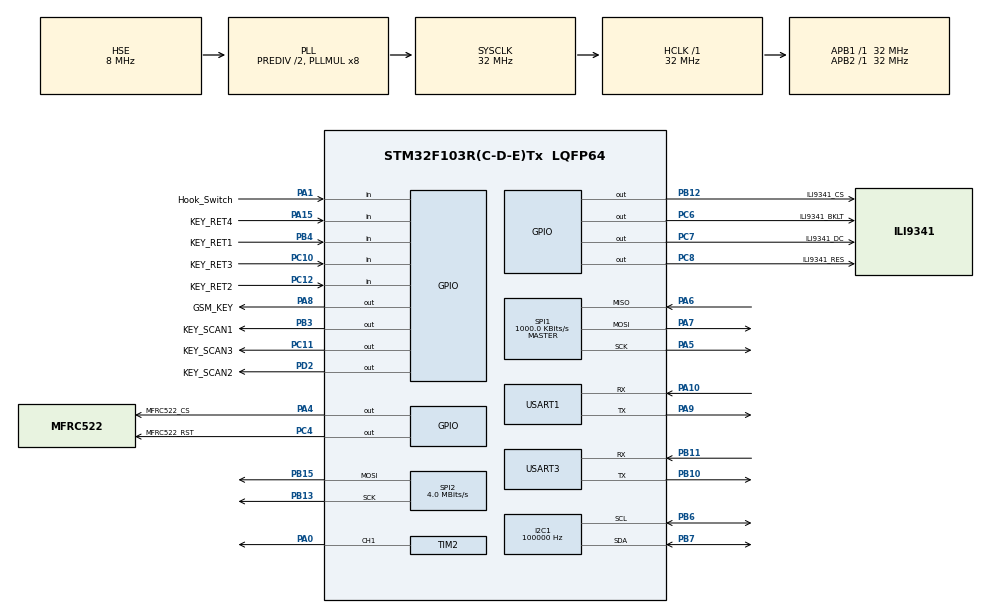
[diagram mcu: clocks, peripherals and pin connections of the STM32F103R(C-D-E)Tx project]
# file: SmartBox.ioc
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FREERTOS.HEAP_NUMBER=4
FREERTOS.INCLUDE_uxTaskPriorityGet=0
FREERTOS.INCLUDE_vTaskDelayUntil=1
FREERTOS.INCLUDE_vTaskDelete=0
FREERTOS.INCLUDE_vTaskPrioritySet=0
FREERTOS.INCLUDE_vTaskSuspend=0
FREERTOS.MEMORY_ALLOCATION=2
FREERTOS.Tasks01=defaultTask,0,256,StartDefaultTask,Default,NULL,Dynamic,NULL,NULL
FREERTOS.configMINIMAL_STACK_SIZE=128
FREERTOS.configTOTAL_HEAP_SIZE=30720
FREERTOS.configUSE_NEWLIB_REENTRANT=1
I2C1.ClockSpeed=100000
Mcu.Family=STM32F1
Mcu.Name=STM32F103R(C-D-E)Tx
Mcu.Package=LQFP64
NVIC.PriorityGroup=NVIC_PRIORITYGROUP_4
NVIC.TIM1_UP_IRQn=true\:15\:0\:false\:false\:true\:false\:false\:true\:true
NVIC.TimeBase=TIM1_UP_IRQn
NVIC.TimeBaseIP=TIM1
NVIC.USART3_IRQn=true\:5\:0\:false\:false\:true\:true\:true\:true\:true
PA0-WKUP.Signal=S_TIM2_CH1_ETR
PA1.GPIO_Label=Hook_Switch
PA1.GPIO_PuPd=GPIO_PULLUP
PA1.Signal=GPIO_Input
PA10.Mode=Asynchronous
PA10.Signal=USART1_RX
PA13.Mode=Serial_Wire
PA13.Signal=SYS_JTMS-SWDIO
PA14.Mode=Serial_Wire
PA14.Signal=SYS_JTCK-SWCLK
PA15.GPIO_Label=KEY_RET4
PA15.GPIO_PuPd=GPIO_NOPULL
PA15.Signal=GPIO_Input
PA4.GPIO_Label=MFRC522_CS
PA4.GPIO_ModeDefaultOutputPP=GPIO_MODE_OUTPUT_PP
PA4.GPIO_Speed=GPIO_SPEED_FREQ_MEDIUM
PA4.PinState=GPIO_PIN_SET
PA4.Signal=GPIO_Output
PA5.Mode=Full_Duplex_Master
PA5.Signal=SPI1_SCK
PA6.Mode=Full_Duplex_Master
PA6.Signal=SPI1_MISO
PA7.Mode=Full_Duplex_Master
PA7.Signal=SPI1_MOSI
PA8.GPIO_Label=GSM_KEY
PA8.GPIO_ModeDefaultOutputPP=GPIO_MODE_OUTPUT_PP
PA8.GPIO_PuPd=GPIO_NOPULL
PA8.PinState=GPIO_PIN_SET
PA8.Signal=GPIO_Output
PA9.Mode=Asynchronous
PA9.Signal=USART1_TX
PB10.Mode=Asynchronous
PB10.Signal=USART3_TX
PB11.GPIO_PuPd=GPIO_PULLUP
PB11.Mode=Asynchronous
PB11.Signal=USART3_RX
PB12.GPIO_Label=ILI9341_CS
PB12.GPIO_Speed=GPIO_SPEED_FREQ_HIGH
PB12.PinState=GPIO_PIN_SET
PB12.Signal=GPIO_Output
PB13.Mode=TX_Only_Simplex_Unidirect_Master
PB13.Signal=SPI2_SCK
PB15.Mode=TX_Only_Simplex_Unidirect_Master
PB15.Signal=SPI2_MOSI
PB3.GPIO_Label=KEY_SCAN1
PB3.GPIO_Speed=GPIO_SPEED_FREQ_MEDIUM
PB3.PinState=GPIO_PIN_SET
PB3.Signal=GPIO_Output
PB4.GPIO_Label=KEY_RET1
PB4.GPIO_Mode=GPIO_MODE_INPUT
PB4.GPIO_PuPd=GPIO_NOPULL
PB4.Signal=GPIO_Input
PB6.Mode=I2C
PB6.Signal=I2C1_SCL
PB7.Mode=I2C
PB7.Signal=I2C1_SDA
PC10.GPIO_Label=KEY_RET3
PC10.GPIO_PuPd=GPIO_NOPULL
PC10.Signal=GPIO_Input
PC11.GPIO_Label=KEY_SCAN3
PC11.GPIO_ModeDefaultOutputPP=GPIO_MODE_OUTPUT_PP
PC11.GPIO_Speed=GPIO_SPEED_FREQ_MEDIUM
PC11.PinState=GPIO_PIN_SET
PC11.Signal=GPIO_Output
PC12.GPIO_Label=KEY_RET2
PC12.GPIO_PuPd=GPIO_NOPULL
PC12.Signal=GPIO_Input
PC14-OSC32_IN.Mode=LSE-External-Oscillator
PC14-OSC32_IN.Signal=RCC_OSC32_IN
PC15-OSC32_OUT.Mode=LSE-External-Oscillator
PC15-OSC32_OUT.Signal=RCC_OSC32_OUT
PC4.GPIO_Label=MFRC522_RST
PC4.GPIO_ModeDefaultOutputPP=GPIO_MODE_OUTPUT_PP
PC4.GPIO_Speed=GPIO_SPEED_FREQ_HIGH
PC4.PinState=GPIO_PIN_SET
PC4.Signal=GPIO_Output
PC6.GPIO_Label=ILI9341_BKLT
PC6.GPIO_ModeDefaultOutputPP=GPIO_MODE_OUTPUT_PP
PC6.GPIO_PuPd=GPIO_NOPULL
PC6.GPIO_Speed=GPIO_SPEED_FREQ_MEDIUM
PC6.PinState=GPIO_PIN_RESET
PC6.Signal=GPIO_Output
PC7.GPIO_Label=ILI9341_DC
PC7.GPIO_ModeDefaultOutputPP=GPIO_MODE_OUTPUT_PP
PC7.GPIO_PuPd=GPIO_NOPULL
PC7.GPIO_Speed=GPIO_SPEED_FREQ_HIGH
PC7.PinState=GPIO_PIN_SET
PC7.Signal=GPIO_Output
PC8.GPIO_Label=ILI9341_RES
PC8.GPIO_ModeDefaultOutputPP=GPIO_MODE_OUTPUT_PP
PC8.GPIO_Speed=GPIO_SPEED_FREQ_MEDIUM
PC8.PinState=GPIO_PIN_SET
PC8.Signal=GPIO_Output
PD0-OSC_IN.Mode=HSE-External-Oscillator
PD0-OSC_IN.Signal=RCC_OSC_IN
PD1-OSC_OUT.Mode=HSE-External-Oscillator
PD1-OSC_OUT.Signal=RCC_OSC_OUT
PD2.GPIO_Label=KEY_SCAN2
PD2.GPIO_Speed=GPIO_SPEED_FREQ_MEDIUM
PD2.PinState=GPIO_PIN_SET
PD2.Signal=GPIO_Output
ProjectManager.HeapSize=0x200
ProjectManager.StackSize=0x400
ProjectManager.TargetToolchain=STM32CubeIDE
RCC.AHBFreq_Value=32000000
RCC.APB1Freq_Value=32000000
RCC.APB1TimFreq_Value=32000000
RCC.APB2Freq_Value=32000000
RCC.APB2TimFreq_Value=32000000
RCC.HCLKFreq_Value=32000000
RCC.HSEDivPLL=RCC_HSE_PREDIV_DIV2
RCC.PLLMUL=RCC_PLL_MUL8
RCC.PLLSourceVirtual=RCC_PLLSOURCE_HSE
RCC.RTCClockSelection=RCC_RTCCLKSOURCE_LSE
RCC.SYSCLKFreq_VALUE=32000000
RCC.SYSCLKSource=RCC_SYSCLKSOURCE_PLLCLK
RCC.USBFreq_Value=32000000
RTC.Format=RTC_FORMAT_BIN
SH.S_TIM2_CH1_ETR.0=TIM2_CH1,Output Compare1 CH1
SPI1.BaudRatePrescaler=SPI_BAUDRATEPRESCALER_32
SPI1.CLKPolarity=SPI_POLARITY_LOW
SPI1.CalculateBaudRate=1000.0 KBits/s
SPI1.Direction=SPI_DIRECTION_2LINES
SPI1.Mode=SPI_MODE_MASTER
SPI1.VirtualType=VM_MASTER
SPI2.BaudRatePrescaler=SPI_BAUDRATEPRESCALER_8
SPI2.CLKPolarity=SPI_POLARITY_HIGH
SPI2.CalculateBaudRate=4.0 MBits/s
SPI2.DataSize=SPI_DATASIZE_8BIT
SPI2.Direction=SPI_DIRECTION_2LINES
SPI2.Mode=SPI_MODE_MASTER
SPI2.VirtualType=VM_MASTER
TIM2.Channel-Output\ Compare1\ CH1=TIM_CHANNEL_1
USART1.VirtualMode=VM_ASYNC
USART3.VirtualMode=VM_ASYNC
VP_FREERTOS_VS_CMSIS_V1.Mode=CMSIS_V1
VP_RTC_VS_RTC_Activate.Mode=RTC_Enabled
VP_SYS_VS_tim1.Mode=TIM1
VP_TIM2_VS_ClockSourceINT.Mode=Internal
board=custom

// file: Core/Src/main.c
/* USER CODE BEGIN Header */
/**
  ******************************************************************************
  * @file           : main.c
  * @brief          : Main program body
  ******************************************************************************
  * @attention
  *
  * Copyright (c) 2023 STMicroelectronics.
  * All rights reserved.
  *
  * This software is licensed under terms that can be found in the LICENSE file
  * in the root directory of this software component.
  * If no LICENSE file comes with this software, it is provided AS-IS.
  *
  ******************************************************************************
  */
/* USER CODE END Header */
#include "main.h"
#include "cmsis_os.h"

/* USER CODE BEGIN Includes */
#ifdef DEBUG
    #include <stdio.h>

#ifdef __GNUC__
/* With GCC/RAISONANCE, small printf (option LD Linker->Libraries->Small printf
   set to 'Yes') calls __io_putchar() */
#define PUTCHAR_PROTOTYPE int __io_putchar(int ch)
#else
#define PUTCHAR_PROTOTYPE int fputc(int ch, FILE *f)
#endif /* __GNUC__ */
#endif

#include "ili9341.h"
#include "mfrc522.h"
#include "Keypad4x3.h"
#include "RFIDHandler.h"
#include "gsm.h"
#include "fonts.h"
#include "ee24.h"
#include "userinterface.h"

/* USER CODE END Includes */

/* USER CODE BEGIN PM */
QueueHandle_t GsmQueue;
uint8_t QueueBuffer[20];
/* USER CODE END PM */

I2C_HandleTypeDef hi2c1;

RTC_HandleTypeDef hrtc;

SPI_HandleTypeDef hspi1;
SPI_HandleTypeDef hspi2;

TIM_HandleTypeDef htim2;

UART_HandleTypeDef huart1;

osThreadId defaultTaskHandle;

void SystemClock_Config(void);
static void MX_GPIO_Init(void);
static void MX_I2C1_Init(void);
static void MX_SPI1_Init(void);
static void MX_SPI2_Init(void);
static void MX_USART3_UART_Init(void);
static void MX_RTC_Init(void);
static void MX_USART1_UART_Init(void);
static void MX_TIM2_Init(void);
void StartDefaultTask(void const * argument);

/* USER CODE BEGIN PFP */
void UserTask1(void const * argument);
void TaskGsm(void const * argument);
static void IntBuffToString(uint8_t *String,uint8_t *NumBuff,uint8_t Nof);
/* USER CODE END PFP */

/* USER CODE BEGIN 0 */
struct
{
    uint8_t HookState;
}SysVariables;

SysCfg_t SysCfg;

PUTCHAR_PROTOTYPE
{
    HAL_UART_Transmit(&huart1, (uint8_t*) &ch, 1, 0xFFFF);
    return ch;
}

static void IntBuffToString(uint8_t *String,uint8_t *NumBuff,uint8_t Nof)
{
    uint8_t Cnt = 0;
    for(Cnt=0;Cnt<Nof;Cnt++)
    {
        String[Cnt] = NumBuff[Cnt]+'0';

    }
    String[Cnt] = 0;
}

/* USER CODE END 0 */

int main(void)
{
  /* USER CODE BEGIN 1 */
    BaseType_t Result;
  /* USER CODE END 1 */

  /* MCU Configuration--------------------------------------------------------*/

  /* Reset of all peripherals, Initializes the Flash interface and the Systick. */
  HAL_Init();

  /* Configure the system clock */
  SystemClock_Config();

  /* Initialize all configured peripherals */
  MX_GPIO_Init();
  MX_I2C1_Init();
  MX_SPI1_Init();
  MX_SPI2_Init();
  MX_USART3_UART_Init();
  MX_RTC_Init();
  MX_USART1_UART_Init();
  MX_TIM2_Init();
  /* USER CODE BEGIN 2 */
  ILI9341_Init();
  MFRC522_Init();
  printf("Hello World..\n");

  /* USER CODE END 2 */

  /* Create the thread(s) */
  /* definition and creation of defaultTask */
  osThreadDef(defaultTask, StartDefaultTask, osPriorityNormal, 0, 256);
  defaultTaskHandle = osThreadCreate(osThread(defaultTask), NULL);

  /* USER CODE BEGIN RTOS_THREADS */
  osThreadDef(Key_RFID, UserTask1, osPriorityNormal, 0, 128);
  defaultTaskHandle = osThreadCreate(osThread(Key_RFID), NULL);
  osThreadDef(GmsHandler, TaskGsm, osPriorityNormal, 0, 512);
  defaultTaskHandle = osThreadCreate(osThread(GmsHandler), NULL);
  /* add threads, ... */
  /* USER CODE END RTOS_THREADS */

  /* Start scheduler */
  osKernelStart();
  /* We should never get here as control is now taken by the scheduler */
  /* Infinite loop */
  while (1)
  {

    /* USER CODE BEGIN 3 */
  }
  (void) Result;
  /* USER CODE END 3 */
}

void SystemClock_Config(void)
{
  RCC_OscInitTypeDef RCC_OscInitStruct = {0};
  RCC_ClkInitTypeDef RCC_ClkInitStruct = {0};
  RCC_PeriphCLKInitTypeDef PeriphClkInit = {0};

  /** Initializes the RCC Oscillators according to the specified parameters
  * in the RCC_OscInitTypeDef structure.
  */
  RCC_OscInitStruct.OscillatorType = RCC_OSCILLATORTYPE_HSE|RCC_OSCILLATORTYPE_LSE;
  RCC_OscInitStruct.HSEState = RCC_HSE_ON;
  RCC_OscInitStruct.HSEPredivValue = RCC_HSE_PREDIV_DIV2;
  RCC_OscInitStruct.LSEState = RCC_LSE_ON;
  RCC_OscInitStruct.HSIState = RCC_HSI_ON;
  RCC_OscInitStruct.PLL.PLLState = RCC_PLL_ON;
  RCC_OscInitStruct.PLL.PLLSource = RCC_PLLSOURCE_HSE;
  RCC_OscInitStruct.PLL.PLLMUL = RCC_PLL_MUL8;
  if (HAL_RCC_OscConfig(&RCC_OscInitStruct) != HAL_OK)
  {
    Error_Handler();
  }

  /** Initializes the CPU, AHB and APB buses clocks
  */
  RCC_ClkInitStruct.ClockType = RCC_CLOCKTYPE_HCLK|RCC_CLOCKTYPE_SYSCLK
                              |RCC_CLOCKTYPE_PCLK1|RCC_CLOCKTYPE_PCLK2;
  RCC_ClkInitStruct.SYSCLKSource = RCC_SYSCLKSOURCE_PLLCLK;
  RCC_ClkInitStruct.AHBCLKDivider = RCC_SYSCLK_DIV1;
  RCC_ClkInitStruct.APB1CLKDivider = RCC_HCLK_DIV1;
  RCC_ClkInitStruct.APB2CLKDivider = RCC_HCLK_DIV1;

  if (HAL_RCC_ClockConfig(&RCC_ClkInitStruct, FLASH_LATENCY_1) != HAL_OK)
  {
    Error_Handler();
  }
  PeriphClkInit.PeriphClockSelection = RCC_PERIPHCLK_RTC;
  PeriphClkInit.RTCClockSelection = RCC_RTCCLKSOURCE_LSE;
  if (HAL_RCCEx_PeriphCLKConfig(&PeriphClkInit) != HAL_OK)
  {
    Error_Handler();
  }
}

static void MX_I2C1_Init(void)
{

  hi2c1.Instance = I2C1;
  hi2c1.Init.ClockSpeed = 100000;
  hi2c1.Init.DutyCycle = I2C_DUTYCYCLE_2;
  hi2c1.Init.OwnAddress1 = 0;
  hi2c1.Init.AddressingMode = I2C_ADDRESSINGMODE_7BIT;
  hi2c1.Init.DualAddressMode = I2C_DUALADDRESS_DISABLE;
  hi2c1.Init.OwnAddress2 = 0;
  hi2c1.Init.GeneralCallMode = I2C_GENERALCALL_DISABLE;
  hi2c1.Init.NoStretchMode = I2C_NOSTRETCH_DISABLE;
  if (HAL_I2C_Init(&hi2c1) != HAL_OK)
  {
    Error_Handler();
  }

}

static void MX_RTC_Init(void)
{

  /** Initialize RTC Only
  */
  hrtc.Instance = RTC;
  hrtc.Init.AsynchPrediv = RTC_AUTO_1_SECOND;
  hrtc.Init.OutPut = RTC_OUTPUTSOURCE_ALARM;
  if (HAL_RTC_Init(&hrtc) != HAL_OK)
  {
    Error_Handler();
  }

}

static void MX_SPI1_Init(void)
{

  /* SPI1 parameter configuration*/
  hspi1.Instance = SPI1;
  hspi1.Init.Mode = SPI_MODE_MASTER;
  hspi1.Init.Direction = SPI_DIRECTION_2LINES;
  hspi1.Init.DataSize = SPI_DATASIZE_8BIT;
  hspi1.Init.CLKPolarity = SPI_POLARITY_LOW;
  hspi1.Init.CLKPhase = SPI_PHASE_1EDGE;
  hspi1.Init.NSS = SPI_NSS_SOFT;
  hspi1.Init.BaudRatePrescaler = SPI_BAUDRATEPRESCALER_32;
  hspi1.Init.FirstBit = SPI_FIRSTBIT_MSB;
  hspi1.Init.TIMode = SPI_TIMODE_DISABLE;
  hspi1.Init.CRCCalculation = SPI_CRCCALCULATION_DISABLE;
  hspi1.Init.CRCPolynomial = 10;
  if (HAL_SPI_Init(&hspi1) != HAL_OK)
  {
    Error_Handler();
  }

}

static void MX_SPI2_Init(void)
{

  /* SPI2 parameter configuration*/
  hspi2.Instance = SPI2;
  hspi2.Init.Mode = SPI_MODE_MASTER;
  hspi2.Init.Direction = SPI_DIRECTION_2LINES;
  hspi2.Init.DataSize = SPI_DATASIZE_8BIT;
  hspi2.Init.CLKPolarity = SPI_POLARITY_HIGH;
  hspi2.Init.CLKPhase = SPI_PHASE_1EDGE;
  hspi2.Init.NSS = SPI_NSS_SOFT;
  hspi2.Init.BaudRatePrescaler = SPI_BAUDRATEPRESCALER_8;
  hspi2.Init.FirstBit = SPI_FIRSTBIT_MSB;
  hspi2.Init.TIMode = SPI_TIMODE_DISABLE;
  hspi2.Init.CRCCalculation = SPI_CRCCALCULATION_DISABLE;
  hspi2.Init.CRCPolynomial = 10;
  if (HAL_SPI_Init(&hspi2) != HAL_OK)
  {
    Error_Handler();
  }

}

static void MX_TIM2_Init(void)
{

  TIM_ClockConfigTypeDef sClockSourceConfig = {0};
  TIM_MasterConfigTypeDef sMasterConfig = {0};
  TIM_OC_InitTypeDef sConfigOC = {0};

  htim2.Instance = TIM2;
  htim2.Init.Prescaler = 0;
  htim2.Init.CounterMode = TIM_COUNTERMODE_UP;
  htim2.Init.Period = 65535;
  htim2.Init.ClockDivision = TIM_CLOCKDIVISION_DIV1;
  htim2.Init.AutoReloadPreload = TIM_AUTORELOAD_PRELOAD_DISABLE;
  if (HAL_TIM_Base_Init(&htim2) != HAL_OK)
  {
    Error_Handler();
  }
  sClockSourceConfig.ClockSource = TIM_CLOCKSOURCE_INTERNAL;
  if (HAL_TIM_ConfigClockSource(&htim2, &sClockSourceConfig) != HAL_OK)
  {
    Error_Handler();
  }
  if (HAL_TIM_OC_Init(&htim2) != HAL_OK)
  {
    Error_Handler();
  }
  sMasterConfig.MasterOutputTrigger = TIM_TRGO_RESET;
  sMasterConfig.MasterSlaveMode = TIM_MASTERSLAVEMODE_DISABLE;
  if (HAL_TIMEx_MasterConfigSynchronization(&htim2, &sMasterConfig) != HAL_OK)
  {
    Error_Handler();
  }
  sConfigOC.OCMode = TIM_OCMODE_TIMING;
  sConfigOC.Pulse = 0;
  sConfigOC.OCPolarity = TIM_OCPOLARITY_HIGH;
  sConfigOC.OCFastMode = TIM_OCFAST_DISABLE;
  if (HAL_TIM_OC_ConfigChannel(&htim2, &sConfigOC, TIM_CHANNEL_1) != HAL_OK)
  {
    Error_Handler();
  }
  HAL_TIM_MspPostInit(&htim2);

}

static void MX_USART1_UART_Init(void)
{

  huart1.Instance = USART1;
  huart1.Init.BaudRate = 115200;
  huart1.Init.WordLength = UART_WORDLENGTH_8B;
  huart1.Init.StopBits = UART_STOPBITS_1;
  huart1.Init.Parity = UART_PARITY_NONE;
  huart1.Init.Mode = UART_MODE_TX_RX;
  huart1.Init.HwFlowCtl = UART_HWCONTROL_NONE;
  huart1.Init.OverSampling = UART_OVERSAMPLING_16;
  if (HAL_UART_Init(&huart1) != HAL_OK)
  {
    Error_Handler();
  }

}

static void MX_USART3_UART_Init(void)
{

  LL_USART_InitTypeDef USART_InitStruct = {0};

  LL_GPIO_InitTypeDef GPIO_InitStruct = {0};

  /* Peripheral clock enable */
  LL_APB1_GRP1_EnableClock(LL_APB1_GRP1_PERIPH_USART3);

  LL_APB2_GRP1_EnableClock(LL_APB2_GRP1_PERIPH_GPIOB);
  /**USART3 GPIO Configuration
  PB10   ------> USART3_TX
  PB11   ------> USART3_RX
  */
  GPIO_InitStruct.Pin = LL_GPIO_PIN_10;
  GPIO_InitStruct.Mode = LL_GPIO_MODE_ALTERNATE;
  GPIO_InitStruct.Speed = LL_GPIO_SPEED_FREQ_HIGH;
  GPIO_InitStruct.OutputType = LL_GPIO_OUTPUT_PUSHPULL;
  LL_GPIO_Init(GPIOB, &GPIO_InitStruct);

  GPIO_InitStruct.Pin = LL_GPIO_PIN_11;
  GPIO_InitStruct.Mode = LL_GPIO_MODE_INPUT;
  GPIO_InitStruct.Pull = LL_GPIO_PULL_UP;
  LL_GPIO_Init(GPIOB, &GPIO_InitStruct);

  /* USART3 interrupt Init */
  NVIC_SetPriority(USART3_IRQn, NVIC_EncodePriority(NVIC_GetPriorityGrouping(),5, 0));
  NVIC_EnableIRQ(USART3_IRQn);

  USART_InitStruct.BaudRate = 115200;
  USART_InitStruct.DataWidth = LL_USART_DATAWIDTH_8B;
  USART_InitStruct.StopBits = LL_USART_STOPBITS_1;
  USART_InitStruct.Parity = LL_USART_PARITY_NONE;
  USART_InitStruct.TransferDirection = LL_USART_DIRECTION_TX_RX;
  USART_InitStruct.HardwareFlowControl = LL_USART_HWCONTROL_NONE;
  USART_InitStruct.OverSampling = LL_USART_OVERSAMPLING_16;
  LL_USART_Init(USART3, &USART_InitStruct);
  LL_USART_ConfigAsyncMode(USART3);
  LL_USART_Enable(USART3);

}

static void MX_GPIO_Init(void)
{
  GPIO_InitTypeDef GPIO_InitStruct = {0};

  /* GPIO Ports Clock Enable */
  __HAL_RCC_GPIOC_CLK_ENABLE();
  __HAL_RCC_GPIOD_CLK_ENABLE();
  __HAL_RCC_GPIOA_CLK_ENABLE();
  __HAL_RCC_GPIOB_CLK_ENABLE();

  /*Configure GPIO pin Output Level */
  HAL_GPIO_WritePin(GPIOA, MFRC522_CS_Pin|GSM_KEY_Pin, GPIO_PIN_SET);

  /*Configure GPIO pin Output Level */
  HAL_GPIO_WritePin(GPIOC, MFRC522_RST_Pin|ILI9341_DC_Pin|ILI9341_RES_Pin|KEY_SCAN3_Pin, GPIO_PIN_SET);

  /*Configure GPIO pin Output Level */
  HAL_GPIO_WritePin(GPIOB, ILI9341_CS_Pin|KEY_SCAN1_Pin, GPIO_PIN_SET);

  /*Configure GPIO pin Output Level */
  HAL_GPIO_WritePin(ILI9341_BKLT_GPIO_Port, ILI9341_BKLT_Pin, GPIO_PIN_RESET);

  /*Configure GPIO pin Output Level */
  HAL_GPIO_WritePin(KEY_SCAN2_GPIO_Port, KEY_SCAN2_Pin, GPIO_PIN_SET);

  /*Configure GPIO pin : Hook_Switch_Pin */
  GPIO_InitStruct.Pin = Hook_Switch_Pin;
  GPIO_InitStruct.Mode = GPIO_MODE_INPUT;
  GPIO_InitStruct.Pull = GPIO_PULLUP;
  HAL_GPIO_Init(Hook_Switch_GPIO_Port, &GPIO_InitStruct);

  /*Configure GPIO pin : MFRC522_CS_Pin */
  GPIO_InitStruct.Pin = MFRC522_CS_Pin;
  GPIO_InitStruct.Mode = GPIO_MODE_OUTPUT_PP;
  GPIO_InitStruct.Pull = GPIO_NOPULL;
  GPIO_InitStruct.Speed = GPIO_SPEED_FREQ_MEDIUM;
  HAL_GPIO_Init(MFRC522_CS_GPIO_Port, &GPIO_InitStruct);

  /*Configure GPIO pins : MFRC522_RST_Pin ILI9341_DC_Pin */
  GPIO_InitStruct.Pin = MFRC522_RST_Pin|ILI9341_DC_Pin;
  GPIO_InitStruct.Mode = GPIO_MODE_OUTPUT_PP;
  GPIO_InitStruct.Pull = GPIO_NOPULL;
  GPIO_InitStruct.Speed = GPIO_SPEED_FREQ_HIGH;
  HAL_GPIO_Init(GPIOC, &GPIO_InitStruct);

  /*Configure GPIO pin : ILI9341_CS_Pin */
  GPIO_InitStruct.Pin = ILI9341_CS_Pin;
  GPIO_InitStruct.Mode = GPIO_MODE_OUTPUT_PP;
  GPIO_InitStruct.Pull = GPIO_NOPULL;
  GPIO_InitStruct.Speed = GPIO_SPEED_FREQ_HIGH;
  HAL_GPIO_Init(ILI9341_CS_GPIO_Port, &GPIO_InitStruct);

  /*Configure GPIO pins : ILI9341_BKLT_Pin ILI9341_RES_Pin KEY_SCAN3_Pin */
  GPIO_InitStruct.Pin = ILI9341_BKLT_Pin|ILI9341_RES_Pin|KEY_SCAN3_Pin;
  GPIO_InitStruct.Mode = GPIO_MODE_OUTPUT_PP;
  GPIO_InitStruct.Pull = GPIO_NOPULL;
  GPIO_InitStruct.Speed = GPIO_SPEED_FREQ_MEDIUM;
  HAL_GPIO_Init(GPIOC, &GPIO_InitStruct);

  /*Configure GPIO pin : GSM_KEY_Pin */
  GPIO_InitStruct.Pin = GSM_KEY_Pin;
  GPIO_InitStruct.Mode = GPIO_MODE_OUTPUT_PP;
  GPIO_InitStruct.Pull = GPIO_NOPULL;
  GPIO_InitStruct.Speed = GPIO_SPEED_FREQ_LOW;
  HAL_GPIO_Init(GSM_KEY_GPIO_Port, &GPIO_InitStruct);

  /*Configure GPIO pin : KEY_RET4_Pin */
  GPIO_InitStruct.Pin = KEY_RET4_Pin;
  GPIO_InitStruct.Mode = GPIO_MODE_INPUT;
  GPIO_InitStruct.Pull = GPIO_NOPULL;
  HAL_GPIO_Init(KEY_RET4_GPIO_Port, &GPIO_InitStruct);

  /*Configure GPIO pins : KEY_RET3_Pin KEY_RET2_Pin */
  GPIO_InitStruct.Pin = KEY_RET3_Pin|KEY_RET2_Pin;
  GPIO_InitStruct.Mode = GPIO_MODE_INPUT;
  GPIO_InitStruct.Pull = GPIO_NOPULL;
  HAL_GPIO_Init(GPIOC, &GPIO_InitStruct);

  /*Configure GPIO pin : KEY_SCAN2_Pin */
  GPIO_InitStruct.Pin = KEY_SCAN2_Pin;
  GPIO_InitStruct.Mode = GPIO_MODE_OUTPUT_PP;
  GPIO_InitStruct.Pull = GPIO_NOPULL;
  GPIO_InitStruct.Speed = GPIO_SPEED_FREQ_MEDIUM;
  HAL_GPIO_Init(KEY_SCAN2_GPIO_Port, &GPIO_InitStruct);

  /*Configure GPIO pin : KEY_SCAN1_Pin */
  GPIO_InitStruct.Pin = KEY_SCAN1_Pin;
  GPIO_InitStruct.Mode = GPIO_MODE_OUTPUT_PP;
  GPIO_InitStruct.Pull = GPIO_NOPULL;
  GPIO_InitStruct.Speed = GPIO_SPEED_FREQ_MEDIUM;
  HAL_GPIO_Init(KEY_SCAN1_GPIO_Port, &GPIO_InitStruct);

  /*Configure GPIO pin : KEY_RET1_Pin */
  GPIO_InitStruct.Pin = KEY_RET1_Pin;
  GPIO_InitStruct.Mode = GPIO_MODE_INPUT;
  GPIO_InitStruct.Pull = GPIO_NOPULL;
  HAL_GPIO_Init(KEY_RET1_GPIO_Port, &GPIO_InitStruct);

}

/* USER CODE BEGIN 4 */
#define ON_HOOK     0x0Au
#define OFF_HOOK    0x50u

void UpdateHookState(void)
{
    static uint8_t HookFilter = 0;

    HookFilter = HookFilter << 1;
    if(GPIO_PIN_SET == HAL_GPIO_ReadPin(Hook_Switch_GPIO_Port, Hook_Switch_Pin))
    {
        HookFilter |= 0x01u;
    }
    else
    {
        HookFilter &= 0xFEu;
    }

    if(HookFilter == 0x0F)SysVariables.HookState = OFF_HOOK;
    if(HookFilter == 0xF0)SysVariables.HookState = ON_HOOK;
}

enum {ST_INIT=0,ST_WAITforNETWORK,ST_OFFHOOK_WAIT,ST_NUM_DIAL,ST_ONHOOK_WAIT,ST_COLLECT_NUM,ST_CARD_WAIT,ST_METERING}SysState;
uint32_t CallDuration = 0;
uint32_t SecCnt = 0;
uint8_t CallSCharge = 0;
uint8_t CallUnitPrice = 0;
uint16_t CallPrice = 0;

uint8_t DispNumber[20];     /* To Display */
/* USER CODE END 4 */

void StartDefaultTask(void const * argument)
{
  /* USER CODE BEGIN 5 */
    bool fDialToneOn = NO;
    uint8_t DialedNumber[16];   /* To hold dialed number */

    uint8_t DialedCnt = 0u;

    osMessageQDef(GsmQueue,1, uint32_t);

    GsmQueue = xQueueCreate(1,4);

/* Infinite loop */
    for( ;; )
    {
        vTaskDelay(10);
        UpdateHookState();
        switch( SysState )
        {
            case ST_INIT:
            {
                int32_t  CfgStatus;
                CfgStatus = EE24_ReadConfig(&SysCfg);
                if( CfgStatus == -1) /* On First PowerOn, Corrupted cases,write defaults */
                {
                    EE24_SetCfgDefaults();  /* Write Defaults */
                }
                USER_DrawStatusBar();
                ILI9341_BkltOn();

                SysVariables.HookState = ON_HOOK;
                ILI9341_WriteString(55, 92, "WAITING FOR NETWORK", Font_11x18, ILI9341_WHITE, ILI9341_BLACK);
                SysState = ST_WAITforNETWORK;
                /* SysState = ST_METERING; */

#if 0
                int32_t  CfgStatus;
                CfgStatus = EE24_ReadConfig(&SysCfg);
                if( CfgStatus == -2)
                {
                    /* Change in Lock byte */
                }
                else
                {
                    if( CfgStatus == -1) /* On First PowerOn, Corrupted cases,write defaults */
                    {
                        EE24_SetCfgDefaults();  /* Write Defaults */
                    }
                    else
                    {
                        SysState = WAITforNETWORK;
                    }
                }
#endif
                break;
            }
            case ST_WAITforNETWORK:
                if(1 == gsm_registered())
                {
                    if(NO == SmartCard.Found)
                    {
                        ILI9341_WriteString(55, 92, "INSERT CARD           ", Font_11x18, ILI9341_WHITE, ILI9341_BLACK);
                    }
                SysState = ST_OFFHOOK_WAIT;
                }
                break;
            case ST_OFFHOOK_WAIT:
                if( (SysVariables.HookState == OFF_HOOK) && (YES == SmartCard.Found) )
                {
                    QueueBuffer[0] = 0x33;
                    osMessagePut(GsmQueue, QueueBuffer, 100);
                    fDialToneOn = true;
                    Key_Init();
                    SysState = ST_CARD_WAIT;
                }
                break;

            case ST_CARD_WAIT:
                if( YES == SmartCard.Found )
                {
                    if( 1 == SysCfg.Mode )
                    {
                        IntBuffToString(DispNumber, SmartCard.Number1, 10);
                        ILI9341_WriteString(80, 80, DispNumber, Font_16x26, ILI9341_WHITE, ILI9341_BLACK);
                        IntBuffToString(DispNumber, SmartCard.Number2, 10);
                        ILI9341_WriteString(80, 120, DispNumber, Font_16x26, ILI9341_COLOR565(192, 192, 192),
                                ILI9341_BLACK);
                        IntBuffToString(DispNumber, SmartCard.Number3, 10);
                        ILI9341_WriteString(80, 160, DispNumber, Font_16x26, ILI9341_COLOR565(192, 192, 192),
                                ILI9341_BLACK);
                        IntBuffToString(DispNumber, SmartCard.Number1, 10);
                        ILI9341_WriteString(80, 200, DispNumber, Font_16x26, ILI9341_COLOR565(192, 192, 192),
                                ILI9341_BLACK);
                    }
                    else
                    {
                        ILI9341_WriteString(55, 92, "DAIL THE NUMBER           ", Font_11x18, ILI9341_WHITE, ILI9341_BLACK);
                        SysState = ST_COLLECT_NUM;
                    }
                    DialedCnt = 0;
                }

                if(( ON_HOOK == SysVariables.HookState  ) || (NO == SmartCard.Found))
                {
                    SysState = ST_ONHOOK_WAIT;
                }

                break;
            case ST_COLLECT_NUM:
                {
                    int8_t Key;
                    Key = Key_GetData();
                    if( (-1 != Key) && (Key < 10) )
                    {
                        if(true == fDialToneOn)
                        {
                            QueueBuffer[0] = 0x44;
                            osMessagePut(GsmQueue,QueueBuffer,100);
                            fDialToneOn = false;
                        }

                        if( 1 == SysCfg.Mode )
                        {
                            if( Key < 5 )
                            {
                                DialedNumber[0] = Key;
                                DispNumber[0] = Key + '0';
                                DispNumber[1] = 0;
                                DialedCnt = 1;
                            }
                        }
                        else
                        {
                            DialedNumber[DialedCnt] = Key;
                            DispNumber[DialedCnt]   = Key + '0';
                            DispNumber[DialedCnt+1] = 0;
                            DialedCnt++;
                        }
                        ILI9341_WriteString(170-((DialedCnt*26)/2), 92, DispNumber, Font_16x26, ILI9341_WHITE,ILI9341_BLACK);
                    }

                    if( (DialedCnt > 9) || (Key == KEY_HASH && DialedCnt != 0) )
                    {

                        QueueBuffer[0] = 0x11;
                        QueueBuffer[1] = 0x00; //Size of the Msg.For now 0
                        uint8_t Cnt;
                        for(Cnt=0;Cnt<10;Cnt++)
                        {
                            QueueBuffer[Cnt+2] = DispNumber[Cnt];
                        }
                        QueueBuffer[Cnt+2] = 0; /* Terminate String Buffer */
                        osMessagePut(GsmQueue,QueueBuffer,100);
                        SysState = ST_NUM_DIAL;
                    }

                    if( ( ON_HOOK == SysVariables.HookState) || (NO == SmartCard.Found) )
                    {
                        SysState = ST_ONHOOK_WAIT;
                    }
                }
                break;
            case ST_NUM_DIAL:

                if(( ON_HOOK == SysVariables.HookState  ) || (NO == SmartCard.Found) )
                {
                    CallPrice = SysCfg.UnitPrice + SysCfg.SCharge;
                    QueueBuffer[0] = 0x22;
                    osMessagePut(GsmQueue,QueueBuffer,100);
                    SysState = ST_ONHOOK_WAIT;
                }

                if(gsm_call_state() == CL_ACTIVE)
                {
                    SysState = ST_METERING;
                    SecCnt = HAL_GetTick();
                    CallDuration = 1;
                }

                if(gsm_call_state() == CL_DISCONNECT)
                {
                    SysState = ST_CARD_WAIT;
                }

                break;

            case ST_METERING:
            {
                if(( ON_HOOK == SysVariables.HookState  ) || (NO == SmartCard.Found) )
                {
                    CallPrice = SysCfg.UnitPrice + SysCfg.SCharge;
                    QueueBuffer[0] = 0x22;
                    osMessagePut(GsmQueue,QueueBuffer,100);
                    SysState = ST_ONHOOK_WAIT;
                }

                if((HAL_GetTick() - SecCnt) > 1000)
                {
                    SecCnt = HAL_GetTick();
                    CallDuration++;
                }
//              sprintf(DispNumber,"%02s:%02s",(uint8_t)(CallDuration/600),(uint8_t)(CallDuration%600));
                sprintf(DispNumber,"%02d:%02d",(uint8_t)(CallDuration/60),(uint8_t)(CallDuration%60));
                ILI9341_WriteString(55, 92, DispNumber, Font_16x26, ILI9341_WHITE,ILI9341_BLACK);
                break;
            }
            case ST_ONHOOK_WAIT:

                if(true == fDialToneOn)
                {
                    QueueBuffer[0] = 0x44;
                    osMessagePut(GsmQueue,QueueBuffer,100);
                    fDialToneOn = false;
                }
                else
                {
                    USER_ClearDisplay();
                    QueueBuffer[0] = 0x22;
                    osMessagePut(GsmQueue,QueueBuffer,100);
                }
                SysState = ST_WAITforNETWORK;
                break;

            default:
                break;

        }
    }

  /* USER CODE END 5 */
}

void HAL_TIM_PeriodElapsedCallback(TIM_HandleTypeDef *htim)
{
  if (htim->Instance == TIM1) {
    HAL_IncTick();
  }
}

void Error_Handler(void)
{
  __disable_irq();
  while (1)
  {
  }
}
